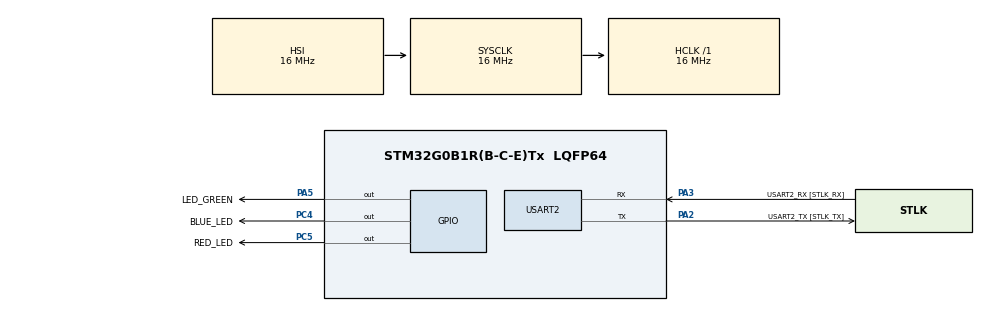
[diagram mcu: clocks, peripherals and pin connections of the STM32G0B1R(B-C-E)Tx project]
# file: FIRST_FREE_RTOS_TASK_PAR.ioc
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FREERTOS.Tasks01=defaultTask,24,128,StartDefaultTask,Default,NULL,Dynamic,NULL,NULL
FREERTOS.configUSE_NEWLIB_REENTRANT=1
Mcu.Family=STM32G0
Mcu.Name=STM32G0B1R(B-C-E)Tx
Mcu.Package=LQFP64
NVIC.TIM1_BRK_UP_TRG_COM_IRQn=true\:3\:0\:false\:false\:true\:false\:false\:true\:true
NVIC.TimeBase=TIM1_BRK_UP_TRG_COM_IRQn
NVIC.TimeBaseIP=TIM1
PA13.GPIO_Label=TMS
PA13.Mode=Serial_Wire
PA13.Signal=SYS_SWDIO
PA14-BOOT0.GPIO_Label=TCK
PA14-BOOT0.Mode=Serial_Wire
PA14-BOOT0.Signal=SYS_SWCLK
PA2.GPIO_Label=USART2_TX [STLK_TX]
PA2.Mode=Asynchronous
PA2.Signal=USART2_TX
PA3.GPIO_Label=USART2_RX [STLK_RX]
PA3.Mode=Asynchronous
PA3.Signal=USART2_RX
PA5.GPIO_Label=LED_GREEN
PA5.GPIO_Speed=GPIO_SPEED_FREQ_HIGH
PA5.Signal=GPIO_Output
PC13.Mode=SYS_WakeUp1
PC13.Signal=SYS_WKUP2
PC14-OSC32_IN\ (PC14).Mode=LSE-External-Oscillator
PC14-OSC32_IN\ (PC14).Signal=RCC_OSC32_IN
PC15-OSC32_OUT\ (PC15).Mode=LSE-External-Oscillator
PC15-OSC32_OUT\ (PC15).Signal=RCC_OSC32_OUT
PC4.GPIO_Label=BLUE_LED
PC4.Signal=GPIO_Output
PC5.GPIO_Label=RED_LED
PC5.Signal=GPIO_Output
PF0-OSC_IN\ (PF0).GPIO_Label=MCO
PF0-OSC_IN\ (PF0).Mode=HSE-External-Clock-Source
PF0-OSC_IN\ (PF0).Signal=RCC_OSC_IN
ProjectManager.HeapSize=0x200
ProjectManager.StackSize=0x400
ProjectManager.TargetToolchain=STM32CubeIDE
RCC.AHBFreq_Value=16000000
RCC.CortexFreq_Value=16000000
RCC.EXTERNAL_CLOCK_VALUE=12288000
RCC.HCLKFreq_Value=16000000
RCC.HSE_VALUE=8000000
RCC.HSI48_VALUE=48000000
RCC.HSI_VALUE=16000000
RCC.SYSCLKFreq_VALUE=16000000
RCC.USBFreq_Value=48000000
RCC.VCOOutputFreq_Value=128000000
USART2.VirtualMode-Asynchronous=VM_ASYNC
VP_FREERTOS_VS_CMSIS_V2.Mode=CMSIS_V2
VP_SYS_VS_tim1.Mode=TIM1
board=NUCLEO-G0B1RE

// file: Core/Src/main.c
/* USER CODE BEGIN Header */
/**
  ******************************************************************************
  * @file           : main.c
  * @brief          : Main program body
  ******************************************************************************
  * @attention
  *
  * Copyright (c) 2024 STMicroelectronics.
  * All rights reserved.
  *
  * This software is licensed under terms that can be found in the LICENSE file
  * in the root directory of this software component.
  * If no LICENSE file comes with this software, it is provided AS-IS.
  *
  ******************************************************************************
  */
/* USER CODE END Header */
#include "main.h"
#include "cmsis_os.h"

/* USER CODE BEGIN Includes */
#include "stdio.h"
#include "queue.h"
#include <string.h>
#include "task.h"

/* USER CODE END Includes */

UART_HandleTypeDef huart2;

/* Definitions for defaultTask */
osThreadId_t defaultTaskHandle;
const osThreadAttr_t defaultTask_attributes = {
  .name = "defaultTask",
  .priority = (osPriority_t) osPriorityNormal,
  .stack_size = 128 * 4
};
/* USER CODE BEGIN PV */
//void StartDefaultTask(void *argument);
void vBlueLedControllerTask(void * pvParameters);
void vRedLedControllerTask(void * pvParameters);
void vGreenLedControllerTask(void * pvParameters);

// task priority functions
void vTask1(void * pvParameters);
void vTask2(void * pvParameters);

// queue pointers
void vStringSendingTask(void * pvParameters);
void vStringReceivingTask(void * pcParameters);
/* USER CODE END PV */

void SystemClock_Config(void);
static void MX_GPIO_Init(void);
static void MX_USART2_UART_Init(void);
void StartDefaultTask(void *argument);

/* USER CODE BEGIN PFP */

typedef uint32_t TaskProfiler;

TaskProfiler BlueTaskProfiler;
TaskProfiler RedTaskProfiler;
TaskProfiler GreenTaskProfiler;
TaskProfiler task1Profiler;
TaskProfiler task2Profiler;

// task handle
TaskHandle_t xTask1Handle = NULL;
TaskHandle_t xTask2Handle = NULL;

/* USER CODE END PFP */

/* USER CODE BEGIN 0 */
// pointers to led pins, passed to task as pvParameters
const uint16_t * red_led_ptr = (uint16_t *) RED_LED_Pin;
const uint16_t * blue_led_ptr = (uint16_t *) BLUE_LED_Pin;
const uint16_t * green_led_ptr = (uint16_t *) LED_GREEN_Pin;

// define an enumerated typed used to identify the source of the data.
typedef enum {
	eSender1,
	eSender2
} DataSource_t;

// define the structure type that will be passed on the queue.
typedef struct {
	uint8_t ucValue;
	DataSource_t eDataSource;
} Data_t;

// declare two variables of type Data_t that will be passed on the queue
static const Data_t xStructsToSend[2] = {
		{100, eSender1}, // used by sender1
		{200, eSender2}, // used by sender2
};

/* using a queue to create a mailbox
 * a mailbox is used to hold data that can be rad by any task
 * The sender overwrites the value in the mailbox
 * The receiver reads the value in the mailbox but does not remove the value from the mailbox
 * a mailbox can hold a fixed size data
 */
typedef struct xExampleStructure {
	TickType_t xTimeStamp;
	uint32_t ulvalue;
} Example_t;

// for mailbox queue
void vUpdateMailBox(uint32_t ulNewValue);
BaseType_t vReadMailbox(Example_t * pxData);

// for queue
void vSenderTask(void * pvParameters);
void vReceiverTask(void * pvParameters);
uint32_t item_not_sent;
uint32_t item1_received;
uint32_t item2_received;
char first_char;

QueueHandle_t xQueue;
QueueHandle_t xPointerQueue;

// a mailbox is a queue so it's handle is tore in a variable of type QueueHandle_t xMailbox
QueueHandle_t xMailbox;

/* USER CODE END 0 */

int main(void)
{

  /* MCU Configuration--------------------------------------------------------*/

  /* Reset of all peripherals, Initializes the Flash interface and the Systick. */
  HAL_Init();

  /* Configure the system clock */
  SystemClock_Config();

  /* Initialize all configured peripherals */
  MX_GPIO_Init();
  MX_USART2_UART_Init();
  /* USER CODE BEGIN 2 */

  // a queue of size 3
  xQueue = xQueueCreate(3, sizeof(int32_t));

  // queue that can hold a maximum of 5 pointers
  xPointerQueue = xQueueCreate(5, sizeof(char *));

  //create a queue that is going to be used as a mailbox
  // the queue has a length of 1 to be used with the xQueueOverwrite() API function
  xMailbox = xQueueCreate(1, sizeof(Example_t));

  /* USER CODE END 2 */

  /* Init scheduler */
  //osKernelInitialize();

  /* Create the thread(s) */
  /* creation of defaultTask */
  //defaultTaskHandle = osThreadN ew(StartDefaultTask, NULL, &defaultTask_attributes);

  /* Start scheduler */
  osKernelStart();

  /* We should never get here as control is now taken by the scheduler */
  /* Infinite loop */
  /* USER CODE BEGIN WHILE */

  // create task

  //* Task created for LED profiling
   /* led pins were passed as pvParameters
  xTaskCreate(vBlueLedControllerTask,
		  "Ble Led controller",
		  100,
		  (void *)blue_led_ptr,
		  1,
		  NULL);

  xTaskCreate(vRedLedControllerTask,
		  "Red Led controller",
		  100,
		  (void *)red_led_ptr,
		  1,
		  NULL);

  xTaskCreate(vGreenLedControllerTask,
		  "Green Led controller",
		  1000,
		  NULL,
		  1,
		  NULL);

  */

 // xTaskCreate(vTask1, "Task 1", 100, NULL, 2, &xTask1Handle);
//  xTaskCreate(vTask2, "Task 2", 100, NULL, 1, &xTask2Handle);

  // with queues start schedule if queue is not null
  if(xQueue != NULL){

//	  xTaskCreate(vSenderTask, "Sender 1", 100, (void *) 100, 1, NULL);
//	  xTaskCreate(vSenderTask, "Sender 2", 100, (void *) 200, 1, NULL);
//	  xTaskCreate(vReceiverTask, "Receiver", 100, NULL, 2, NULL);

	  /** sending with queue custom data */
	  xTaskCreate(vSenderTask, "Sender 1", 100, &(xStructsToSend[0]), 2, NULL);
	  xTaskCreate(vSenderTask, "Sender 1", 100, &(xStructsToSend[1]), 2, NULL);
	  xTaskCreate(vReceiverTask, "Receiver", 100, NULL, 1, NULL);

	  // start the scheduler so the created tasks start executing
	  vTaskStartScheduler();
  } else {
	  // the queue couldn't be created
  }

//  vTaskStartScheduler();	// start schedule

  //int ch[3] = {'H','e','l'};
  while (1)
  {

	  //HAL_UART_Transmit(&huart2, (uint8_t *)ch, sizeof(ch), 0xFFFF);
	  //printf("Hello from stm32\n\r");
    /* USER CODE END WHILE */

  }
}

void SystemClock_Config(void)
{
  RCC_OscInitTypeDef RCC_OscInitStruct = {0};
  RCC_ClkInitTypeDef RCC_ClkInitStruct = {0};

  /** Configure the main internal regulator output voltage
  */
  HAL_PWREx_ControlVoltageScaling(PWR_REGULATOR_VOLTAGE_SCALE1);

  /** Initializes the RCC Oscillators according to the specified parameters
  * in the RCC_OscInitTypeDef structure.
  */
  RCC_OscInitStruct.OscillatorType = RCC_OSCILLATORTYPE_HSI;
  RCC_OscInitStruct.HSIState = RCC_HSI_ON;
  RCC_OscInitStruct.HSIDiv = RCC_HSI_DIV1;
  RCC_OscInitStruct.HSICalibrationValue = RCC_HSICALIBRATION_DEFAULT;
  RCC_OscInitStruct.PLL.PLLState = RCC_PLL_NONE;
  if (HAL_RCC_OscConfig(&RCC_OscInitStruct) != HAL_OK)
  {
    Error_Handler();
  }

  /** Initializes the CPU, AHB and APB buses clocks
  */
  RCC_ClkInitStruct.ClockType = RCC_CLOCKTYPE_HCLK|RCC_CLOCKTYPE_SYSCLK
                              |RCC_CLOCKTYPE_PCLK1;
  RCC_ClkInitStruct.SYSCLKSource = RCC_SYSCLKSOURCE_HSI;
  RCC_ClkInitStruct.AHBCLKDivider = RCC_SYSCLK_DIV1;
  RCC_ClkInitStruct.APB1CLKDivider = RCC_HCLK_DIV1;

  if (HAL_RCC_ClockConfig(&RCC_ClkInitStruct, FLASH_LATENCY_0) != HAL_OK)
  {
    Error_Handler();
  }
}

static void MX_USART2_UART_Init(void)
{

  huart2.Instance = USART2;
  huart2.Init.BaudRate = 115200;
  huart2.Init.WordLength = UART_WORDLENGTH_8B;
  huart2.Init.StopBits = UART_STOPBITS_1;
  huart2.Init.Parity = UART_PARITY_NONE;
  huart2.Init.Mode = UART_MODE_TX_RX;
  huart2.Init.HwFlowCtl = UART_HWCONTROL_NONE;
  huart2.Init.OverSampling = UART_OVERSAMPLING_16;
  huart2.Init.OneBitSampling = UART_ONE_BIT_SAMPLE_DISABLE;
  huart2.Init.ClockPrescaler = UART_PRESCALER_DIV1;
  huart2.AdvancedInit.AdvFeatureInit = UART_ADVFEATURE_NO_INIT;
  if (HAL_UART_Init(&huart2) != HAL_OK)
  {
    Error_Handler();
  }
  if (HAL_UARTEx_SetTxFifoThreshold(&huart2, UART_TXFIFO_THRESHOLD_1_8) != HAL_OK)
  {
    Error_Handler();
  }
  if (HAL_UARTEx_SetRxFifoThreshold(&huart2, UART_RXFIFO_THRESHOLD_1_8) != HAL_OK)
  {
    Error_Handler();
  }
  if (HAL_UARTEx_DisableFifoMode(&huart2) != HAL_OK)
  {
    Error_Handler();
  }

}

static void MX_GPIO_Init(void)
{
  GPIO_InitTypeDef GPIO_InitStruct = {0};
/* USER CODE BEGIN MX_GPIO_Init_1 */
  // enable two gpio pins D1-PC4 and D0-PC5
/* USER CODE END MX_GPIO_Init_1 */

  /* GPIO Ports Clock Enable */
  __HAL_RCC_GPIOC_CLK_ENABLE();
  __HAL_RCC_GPIOF_CLK_ENABLE();
  __HAL_RCC_GPIOA_CLK_ENABLE();

  /*Configure GPIO pin Output Level */
  HAL_GPIO_WritePin(LED_GREEN_GPIO_Port, LED_GREEN_Pin, GPIO_PIN_RESET);

  /*Configure GPIO pin Output Level */
  HAL_GPIO_WritePin(GPIOC, BLUE_LED_Pin|RED_LED_Pin, GPIO_PIN_RESET);

  /*Configure GPIO pin : LED_GREEN_Pin */
  GPIO_InitStruct.Pin = LED_GREEN_Pin;
  GPIO_InitStruct.Mode = GPIO_MODE_OUTPUT_PP;
  GPIO_InitStruct.Pull = GPIO_NOPULL;
  GPIO_InitStruct.Speed = GPIO_SPEED_FREQ_HIGH;
  HAL_GPIO_Init(LED_GREEN_GPIO_Port, &GPIO_InitStruct);

  /*Configure GPIO pins : BLUE_LED_Pin RED_LED_Pin */
  GPIO_InitStruct.Pin = BLUE_LED_Pin|RED_LED_Pin;
  GPIO_InitStruct.Mode = GPIO_MODE_OUTPUT_PP;
  GPIO_InitStruct.Pull = GPIO_NOPULL;
  GPIO_InitStruct.Speed = GPIO_SPEED_FREQ_LOW;
  HAL_GPIO_Init(GPIOC, &GPIO_InitStruct);

}

/* USER CODE BEGIN 4 */
// repurpose printf to transmit uart
int __io_putchar(int ch){
	HAL_UART_Transmit(&huart2, (uint8_t *)&ch, sizeof(ch), 0xFFFF);
	return ch;
}

// craete task

void vBlueLedControllerTask(void * pvParameters)
{
	while(1){
		//printf("vBleLedControllerTask blue...\n\r");
		BlueTaskProfiler++;
		//HAL_GPIO_TogglePin(GPIOC, (uint16_t)pvParameters);
		//HAL_Delay(50);
		//HAL_Delay(50);
	}
}

void vRedLedControllerTask(void * pvParameters)
{
	while(1){
		//printf("vRedLedControllerTask Red...\n\r");
		RedTaskProfiler++;
//		HAL_GPIO_TogglePin(GPIOC, RED_LED_Pin);
		//HAL_GPIO_TogglePin(GPIOC, (uint16_t)pvParameters);
		//HAL_Delay(50);
	}
}

void vGreenLedControllerTask(void * pvParameters)
{
	//while(1){
		/*
		//printf("vGreenLedControllerTask Green...\n\r");
		GreenTaskProfiler++;

		//HAL_GPIO_TogglePin(GPIOA, LED_GREEN_Pin);
		HAL_GPIO_TogglePin(GPIOA, (uint16_t) pvParameters);

		HAL_Delay(100);
		*/

	//}

	UBaseType_t uxPriority;
		// this task will run before task 2
		uxPriority = uxTaskPriorityGet(NULL);
		for(;;){
			task1Profiler++;
			//for(int i=0; i<10000; i++);	// do something
			//vTaskPrioritySet(xTask2Handle, ( uxPriority + 1)); // set priority below task2
		}
}

// for queues by copy
/**
  * @brief writing values to queue Function
  * @param None
  * @retval None
  */
void vSenderTask(void * pvParameters){
	int32_t lValueToSend;
	BaseType_t xStatus;
	const TickType_t xTicksToWait = pdMS_TO_TICKS(100);

	lValueToSend = (int32_t) pvParameters;
	for(;;){
		// when sender task has lower priority than receiver task
		// when queue gets one value it is pre-emptied by sender task
		//xStatus = xQueueSendToBack(xQueue, &lValueToSend, 0);

		// when receiver has higher priority than sender task
		// queue will be filled before sending
		xStatus = xQueueSendToBack(xQueue, pvParameters, xTicksToWait);
		if(xStatus != pdPASS){
			// could not complete
		}
	}

}

/**
  * @brief Reading values from queue Function
  * @param None
  * @retval None
  */
void vReceiverTask(void * pvParameters){
	// recieving a single value
	int32_t lReceivedValue;
	BaseType_t xStatus;

	// structure that will hold the values received from the queue
	Data_t xReceivedStructure;
	// max amnt of time task will remain in blocked stated to wait for data
	const TickType_t xTicksToWait = pdMS_TO_TICKS(100);

	for(;;){
		// when receiveer task is of lower priority, it will only run when sender is in blocked state
		// sender will only enter blocked state when queue is full
		// so expect number of items in queue to be equal to queue length
//		if(uxQueueMessagesWaiting(xQueue) != 0){
		if(uxQueueMessagesWaiting(xQueue) != 3){ // queue length define as 3
			// queue should have been empty
		}
		// recevie data from the queue
//		xStatus = xQueueReceive(xQueue, &lReceivedValue, xTicksToWait);
//		xStatus = xQueueReceive(xQueue, &item1_received, xTicksToWait);
		xStatus = xQueueReceive(xQueue, &xReceivedStructure, xTicksToWait);
		if(xStatus == pdPASS){
			// data received successfully from the queue

			if(xReceivedStructure.eDataSource == eSender1){
				// from sender 1
				item1_received++;

			} else {
				// from sender 2
				item2_received++;
			}
		}else {
			// data was not received from the queue
			// even after waiting from 100ms
			item_not_sent++;
		}
	}

}

void vUpdateMailBox(uint32_t ulNewValue){
	Example_t xData;

	// write the new data into the Example_t structure
	xData.ulvalue = ulNewValue;

	// user the rtos tick count as the time stamp stored in the Example_t
	xData.xTimeStamp = xTaskGetTickCount();

	// send the structure to the mailbox
	// overwriting any data that is already in the mailbox
	// newver call xQueueOverwrite function from an interrupt service routine
	xQueueOverwrite(xMailbox, &xData);

}

/*
 * Function to take peek at the element of mailbox queue
 * without removing it
 */
BaseType_t vReadMailbox(Example_t * pxData){
	TickType_t xPreviousTimeStamp;
	BaseType_t xDataUpdated;

	// this function updates an Example_t structure with the latest value
	// received from the mailbox.
	// old record before it gets overwritten
	xPreviousTimeStamp = pxData->xTimeStamp;

	// update the Example_t structure pointed to by pxData with
	// the data contained in the mailbox
	xQueuePeek(xMailbox, pxData, portMAX_DELAY);

	if(pxData->xTimeStamp > xPreviousTimeStamp){
		xDataUpdated = pdTRUE;
	} else {
		xDataUpdated = pdFALSE;
	}

	return xDataUpdated;
}

// The following tasks is for setting priorities
/**
  * @brief changind task priority Function
  * @param None
  * @retval None
  */
void vTask1(void * pvParameters){
	UBaseType_t uxPriority;
	// this task will run before task 2
	uxPriority = uxTaskPriorityGet(NULL);
	for(;;){
		task1Profiler++;
		for(int i=0; i<10000; i++);	// do something
		vTaskPrioritySet(xTask2Handle, ( uxPriority + 1)); // set priority below task2
	}
}

/**
  * @brief changind task priority Function
  * @param None
  * @retval None
  */
void vTask2(void * pvParameters){
	UBaseType_t	uxPriority;

	// task1 will always run before this task
	uxPriority = uxTaskPriorityGet(NULL);

	for(;;){
		task2Profiler++;
		for(int i=0; i<10000; i++); // do something
		if(task2Profiler > 100)
			vTaskDelete(NULL);
		vTaskPrioritySet(NULL, (uxPriority - 2)); //set priority below task1
	}

}

/* USER CODE END 4 */

void StartDefaultTask(void *argument)
{
  for(;;)
  {
    osDelay(1);
  }
}

void HAL_TIM_PeriodElapsedCallback(TIM_HandleTypeDef *htim)
{
  if (htim->Instance == TIM1) {
    HAL_IncTick();
  }
}

void Error_Handler(void)
{
  __disable_irq();
  while (1)
  {
  }
}
